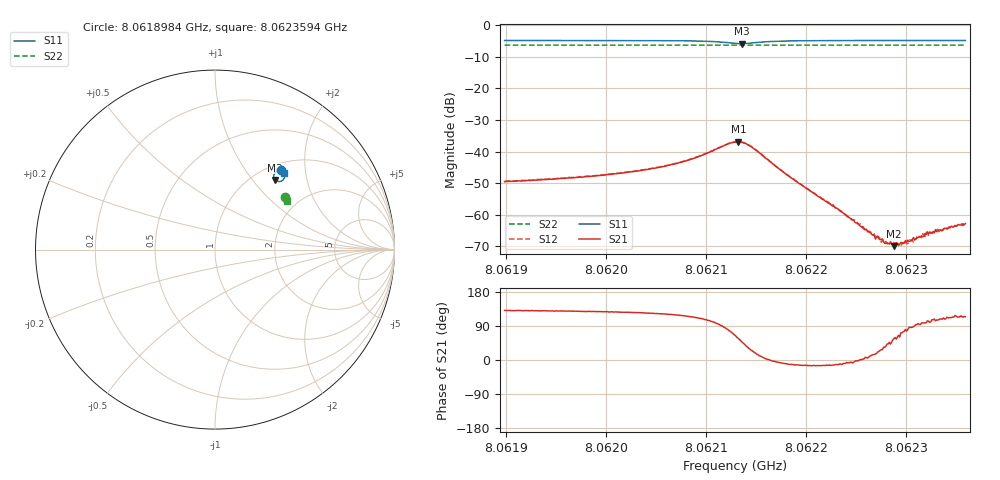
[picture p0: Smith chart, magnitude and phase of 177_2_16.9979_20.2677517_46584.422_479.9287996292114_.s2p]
#  HZ  S  RI  R  50.00
! Rohde & Schwarz Vector Network Analyzer
! Rohde-Schwarz,ZNB20-2Port,1311601062101988,3.16
! Created: UTC 3/20/2024, 11:00:00 PM
! freq[Hz]  re:S11  im:S11  re:S21  im:S21  re:S12  im:S12  re:S22  im:S22
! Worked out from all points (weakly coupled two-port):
!   401 points, 8.0618984 GHz to 8.0623594 GHz, reference 50 ohm
!   highest |S21| = -36.90 dB at 8.0621323 GHz (marker M1); lowest = -70.0 dB at 8.0622879 GHz (marker M2)
!   lowest |S11| = -5.8 dB at 8.0621358 GHz (marker M3), VSWR 3.11, Z = 62.3 + j65.6 ohm
!   |S11| at or under -10 dB: nowhere
!   |S22| runs from -6.3 to -6.3 dB; largest |S21 - S12| = 0.001
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8.06189842e9  0.3697 0.4413  -0.00219 0.00252  -0.00206 0.00267  0.3873 0.2937
8.06197563e9  0.3759 0.4354  -0.00244 0.0031  -0.00233 0.00327  0.39 0.2898
8.06201481e9  0.3796 0.4313  -0.00268 0.00367  -0.0025 0.0039  0.3914 0.2878
8.06205284e9  0.3839 0.4248  -0.003 0.00476  -0.00273 0.00499  0.3927 0.2857
8.0620851e9  0.3875 0.4139  -0.00309 0.00692  -0.0027 0.00718  0.3938 0.2836
8.06211161e9  0.3825 0.3922  -0.00107 0.0112  -0.000347 0.0113  0.3941 0.2817
8.06212889e9  0.3526 0.3794  0.0059 0.0128  0.00672 0.0126  0.3931 0.2806
8.06213235e9  0.344 0.3822  0.00784 0.012  0.00868 0.0114  0.3927 0.2809
8.06213581e9  0.336 0.3879  0.00941 0.0103  0.0102 0.00988  0.3926 0.281
8.06214733e9  0.3278 0.4145  0.0104 0.00422  0.0108 0.00357  0.3931 0.2818
8.0621796e9  0.3538 0.4392  0.00436 -0.000752  0.00436 -0.00101  0.3957 0.2809
8.0622061e9  0.3652 0.4385  0.0022 -0.000596  0.00217 -0.000685  0.397 0.2795
8.06223145e9  0.3713 0.4366  0.00122 -0.000265  0.00122 -0.000313  0.3981 0.2782
8.06226717e9  0.3768 0.4338  0.000464 0.000117  0.000462 7.68e-05  0.3993 0.2762
8.06227985e9  0.3783 0.4328  0.000283 0.00021  0.00032 0.000211  0.3998 0.2756
8.06228331e9  0.3788 0.4326  0.000236 0.000249  0.000247 0.000223  0.3998 0.2754
8.06228792e9  0.3793 0.4323  0.000174 0.000266  0.000214 0.000295  0.4001 0.2753
8.06229598e9  0.3801 0.4317  0.00011 0.000333  0.000142 0.000315  0.4003 0.2749
8.06230751e9  0.3814 0.4309  1.57e-05 0.000435  -3.26e-06 0.00036  0.4007 0.2743
8.06231903e9  0.3823 0.4302  -6.8e-05 0.000503  -3.62e-05 0.00045  0.4011 0.2737
8.0623536e9  0.3852 0.428  -0.000273 0.000629  -0.00023 0.000661  0.4021 0.272
8.06235936e9  0.3857 0.4276  -0.000298 0.000661  -0.000302 0.000643  0.4024 0.2716
